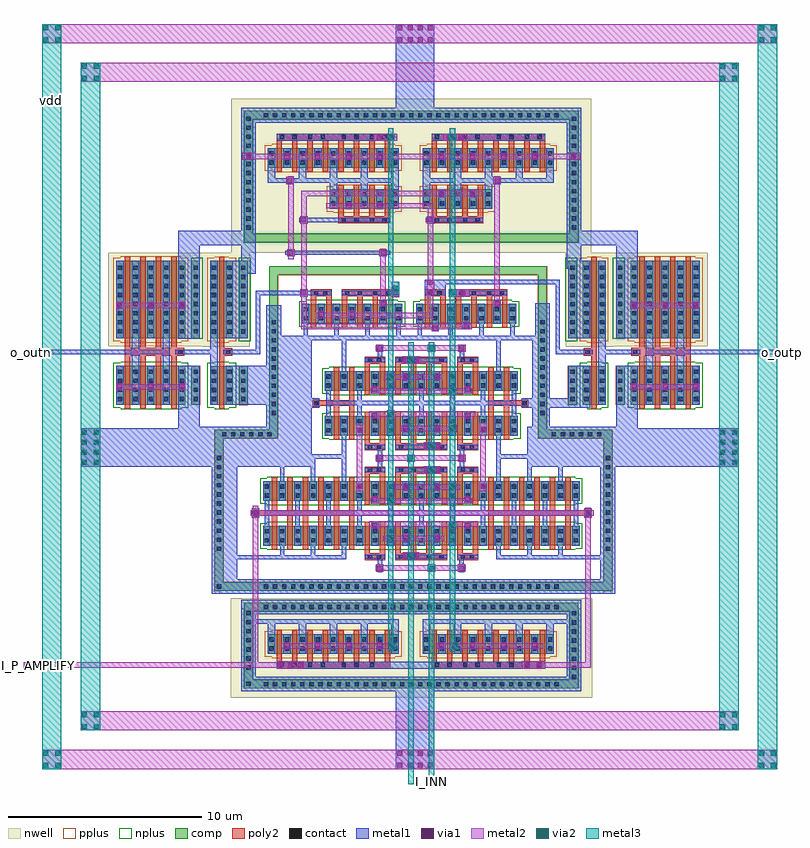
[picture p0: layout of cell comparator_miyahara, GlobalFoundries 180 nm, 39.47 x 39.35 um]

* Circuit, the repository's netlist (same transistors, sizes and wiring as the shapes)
** sch_path: /home/stanleylin/Project-GF180MCU/xschem/comparator_miyahara.sch
.subckt comparator_miyahara i_p_amplify gf180mcu_gnd i_inp i_inn vdd o_outp o_outn
*.PININFO i_p_amplify:B gf180mcu_gnd:B i_inp:B i_inn:B vdd:B o_outp:B o_outn:B
M1 x_sb i_inp net1 gf180mcu_gnd nfet_03v3 L=280n W=2u nf=2 m=8
M2 x_rb i_inn net1 gf180mcu_gnd nfet_03v3 L=280n W=2u nf=2 m=8
M3 net1 i_p_amplify gf180mcu_gnd gf180mcu_gnd nfet_03v3 L=280n W=2u nf=2 m=12
M4 x_sb i_p_amplify vdd vdd pfet_03v3 L=280n W=2u nf=2 m=4
M5 x_rb i_p_amplify vdd vdd pfet_03v3 L=280n W=2u nf=2 m=4
M6 xx_outp x_sb gf180mcu_gnd gf180mcu_gnd nfet_03v3 L=280n W=2u nf=2 m=1
M7 xx_outp xx_outn gf180mcu_gnd gf180mcu_gnd nfet_03v3 L=280n W=2u nf=2 m=1
M8 xx_outn xx_outp gf180mcu_gnd gf180mcu_gnd nfet_03v3 L=280n W=2u nf=2 m=1
M9 xx_outn x_rb gf180mcu_gnd gf180mcu_gnd nfet_03v3 L=280n W=2u nf=2 m=1
M10 xx_outp xx_outn net2 vdd pfet_03v3 L=280n W=2u nf=2 m=2
M11 xx_outn xx_outp net3 vdd pfet_03v3 L=280n W=2u nf=2 m=2
M12 net2 x_sb gf180mcu_gnd gf180mcu_gnd nfet_03v3 L=280n W=2u nf=2 m=1
M14 net3 x_rb gf180mcu_gnd gf180mcu_gnd nfet_03v3 L=280n W=2u nf=2 m=1
M15 net2 x_sb vdd vdd pfet_03v3 L=280n W=2u nf=2 m=4
M16 net3 x_rb vdd vdd pfet_03v3 L=280n W=2u nf=2 m=4

M13 net1 gf180mcu_gnd gf180mcu_gnd gf180mcu_gnd nfet_03v3 L=280n W=2u nf=2 m=4

*x1 vdd net5 o_outn gf180mcu_gnd lib_inv2
M101 o_outn net5 gf180mcu_gnd gf180mcu_gnd nfet_03v3 L=0.28u W=2u nf=1 m=4
M102 o_outn net5 vdd vdd pfet_03v3 L=0.28u W=4u nf=1 m=4

*x2 vdd net4 o_outp gf180mcu_gnd lib_inv2
M103 o_outp net4 gf180mcu_gnd gf180mcu_gnd nfet_03v3 L=0.28u W=2u nf=1 m=4
M104 o_outp net4 vdd vdd pfet_03v3 L=0.28u W=4u nf=1 m=4

*x3 vdd xx_outp net4 gf180mcu_gnd lib_inv1
M105 net4 xx_outp gf180mcu_gnd gf180mcu_gnd nfet_03v3 L=0.28u W=2u nf=1 m=1
M106 net4 xx_outp vdd vdd pfet_03v3 L=0.28u W=4u nf=1 m=1

*x4 vdd xx_outn net5 gf180mcu_gnd lib_inv1
M107 net5 xx_outn gf180mcu_gnd gf180mcu_gnd nfet_03v3 L=0.28u W=2u nf=1 m=1
M108 net5 xx_outn vdd vdd pfet_03v3 L=0.28u W=4u nf=1 m=1

.ends

* expanding   symbol:  lib_inv2.sym # of pins=4
** sym_path: /home/stanleylin/Project-GF180MCU/xschem/lib_inv2.sym
** sch_path: /home/stanleylin/Project-GF180MCU/xschem/lib_inv2.sch
*.subckt lib_inv2 vdd IN OUT gf180mcu_gnd
*.PININFO IN:I OUT:O vdd:I gf180mcu_gnd:I
*M1 OUT IN gf180mcu_gnd gf180mcu_gnd nfet_03v3 L=0.28u W=2u nf=1 m=4
*M2 OUT IN vdd vdd pfet_03v3 L=0.28u W=4u nf=1 m=4
*.ends


* expanding   symbol:  lib_inv1.sym # of pins=4
** sym_path: /home/stanleylin/Project-GF180MCU/xschem/lib_inv1.sym
** sch_path: /home/stanleylin/Project-GF180MCU/xschem/lib_inv1.sch
*.subckt lib_inv1 vdd IN OUT gf180mcu_gnd
*.PININFO IN:I OUT:O vdd:I gf180mcu_gnd:I
*M1 OUT IN gf180mcu_gnd gf180mcu_gnd nfet_03v3 L=0.28u W=2u nf=1 m=1
*M2 OUT IN vdd vdd pfet_03v3 L=0.28u W=4u nf=1 m=1
*.ends

.end

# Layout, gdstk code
import gdstk
lib = gdstk.Library(unit=1e-6, precision=1e-09)
def R(c, l, rs):  # rectangles x0, y0, x1, y1
    for r in rs: c.add(gdstk.rectangle(r[:2], r[2:], *l))
def A(c, l, x, y, w, h, nx, ny, dx, dy):  # array of equal rectangles
    R(c, l, [(x+i*dx, y+j*dy, x+i*dx+w, y+j*dy+h) for i in range(nx) for j in range(ny)])
nwell = (21, 0)
comp = (22, 0)
poly2 = (30, 0)
pplus = (31, 0)
nplus = (32, 0)
contact = (33, 0)
metal1 = (34, 0)
via1 = (35, 0)
metal2 = (36, 0)
via2 = (38, 0)
metal3 = (42, 0)

m2_m1_cdns_677059503131 = lib.new_cell('M2_M1_CDNS_677059503131')
R(m2_m1_cdns_677059503131, metal1, [(-1,-0.5,1,0.5)])
A(m2_m1_cdns_677059503131, via1, -0.91, -0.44, 0.26, 0.26, 4, 2, 0.52, 0.62)
R(m2_m1_cdns_677059503131, metal2, [(-1,-0.5,1,0.5)])

m3_m2_cdns_677059503136 = lib.new_cell('M3_M2_CDNS_677059503136')
R(m3_m2_cdns_677059503136, metal2, [(-0.19,-0.19,0.19,0.19)])
R(m3_m2_cdns_677059503136, via2, [(-0.13,-0.13,0.13,0.13)])
R(m3_m2_cdns_677059503136, metal3, [(-0.19,-0.19,0.19,0.19)])

m2_m1_cdns_677059503139 = lib.new_cell('M2_M1_CDNS_677059503139')
R(m2_m1_cdns_677059503139, metal1, [(-0.425,-0.19,0.425,0.19)])
R(m2_m1_cdns_677059503139, via1, [(-0.39,-0.13,-0.13,0.13), (0.13,-0.13,0.39,0.13)])
R(m2_m1_cdns_677059503139, metal2, [(-0.425,-0.19,0.425,0.19)])

m2_m1_cdns_677059503135 = lib.new_cell('M2_M1_CDNS_677059503135')
R(m2_m1_cdns_677059503135, metal1, [(-0.19,-0.14,0.19,0.14)])
R(m2_m1_cdns_677059503135, via1, [(-0.13,-0.13,0.13,0.13)])
R(m2_m1_cdns_677059503135, metal2, [(-0.19,-0.19,0.19,0.19)])

m3_m2_cdns_677059503130 = lib.new_cell('M3_M2_CDNS_677059503130')
R(m3_m2_cdns_677059503130, metal2, [(-0.5,-0.5,0.5,0.5)])
R(m3_m2_cdns_677059503130, via2, [(-0.44,-0.44,-0.18,-0.18), (0.18,-0.44,0.44,-0.18), (-0.44,0.18,-0.18,0.44), (0.18,0.18,0.44,0.44)])
R(m3_m2_cdns_677059503130, metal3, [(-0.5,-0.5,0.5,0.5)])

m2_m1_cdns_677059503138 = lib.new_cell('M2_M1_CDNS_677059503138')
R(m2_m1_cdns_677059503138, metal1, [(-0.19,-0.19,0.19,0.19)])
R(m2_m1_cdns_677059503138, via1, [(-0.13,-0.13,0.13,0.13)])
R(m2_m1_cdns_677059503138, metal2, [(-0.19,-0.19,0.19,0.19)])

m2_m1_cdns_6770595031313 = lib.new_cell('M2_M1_CDNS_6770595031313')
R(m2_m1_cdns_6770595031313, metal1, [(-0.19,-0.14,0.19,0.24)])
R(m2_m1_cdns_6770595031313, via1, [(-0.13,-0.08,0.13,0.18)])
R(m2_m1_cdns_6770595031313, metal2, [(-0.19,-0.14,0.19,0.24)])

m3_m2_cdns_6770595031314 = lib.new_cell('M3_M2_CDNS_6770595031314')
R(m3_m2_cdns_6770595031314, metal2, [(-0.14,-0.18,0.14,0.18)])
R(m3_m2_cdns_6770595031314, via2, [(-0.13,-0.13,0.13,0.13)])
R(m3_m2_cdns_6770595031314, metal3, [(-0.19,-0.18,0.19,0.18)])

m2_m1_cdns_6770595031315 = lib.new_cell('M2_M1_CDNS_6770595031315')
R(m2_m1_cdns_6770595031315, metal1, [(-0.6,-0.18,0.6,0.18)])
R(m2_m1_cdns_6770595031315, via1, [(-0.44,-0.13,-0.18,0.13), (0.18,-0.13,0.44,0.13)])
R(m2_m1_cdns_6770595031315, metal2, [(-0.6,-0.18,0.6,0.18)])

m2_m1_cdns_6770595031319 = lib.new_cell('M2_M1_CDNS_6770595031319')
R(m2_m1_cdns_6770595031319, metal1, [(-0.19,-0.14,0.19,0.18)])
R(m2_m1_cdns_6770595031319, via1, [(-0.13,-0.08,0.13,0.18)])
R(m2_m1_cdns_6770595031319, metal2, [(-0.19,-0.14,0.19,0.24)])

m2_m1_cdns_6770595031320 = lib.new_cell('M2_M1_CDNS_6770595031320')
R(m2_m1_cdns_6770595031320, metal1, [(-0.14,-0.175,0.14,0.175)])
R(m2_m1_cdns_6770595031320, via1, [(-0.13,-0.13,0.13,0.13)])
R(m2_m1_cdns_6770595031320, metal2, [(-0.19,-0.175,0.19,0.175)])

m2_m1_cdns_6770595031321 = lib.new_cell('M2_M1_CDNS_6770595031321')
R(m2_m1_cdns_6770595031321, metal1, [(-0.365,-0.19,0.365,0.19)])
R(m2_m1_cdns_6770595031321, via1, [(-0.13,-0.13,0.13,0.13)])
R(m2_m1_cdns_6770595031321, metal2, [(-0.365,-0.19,0.365,0.19)])

m2_m1_cdns_6770595031322 = lib.new_cell('M2_M1_CDNS_6770595031322')
R(m2_m1_cdns_6770595031322, metal1, [(-0.14,-0.4,0.14,0.4)])
R(m2_m1_cdns_6770595031322, via1, [(-0.13,-0.39,0.13,-0.13), (-0.13,0.13,0.13,0.39)])
R(m2_m1_cdns_6770595031322, metal2, [(-0.19,-0.4,0.19,0.4)])

m2_m1_cdns_6770595031324 = lib.new_cell('M2_M1_CDNS_6770595031324')
R(m2_m1_cdns_6770595031324, metal1, [(-0.355,-0.14,0.355,0.14)])
R(m2_m1_cdns_6770595031324, via1, [(-0.13,-0.13,0.13,0.13)])
R(m2_m1_cdns_6770595031324, metal2, [(-0.355,-0.19,0.355,0.19)])

m3_m2_cdns_6770595031323 = lib.new_cell('M3_M2_CDNS_6770595031323')
R(m3_m2_cdns_6770595031323, metal2, [(-0.19,-0.335,0.19,0.345)])
R(m3_m2_cdns_6770595031323, via2, [(-0.13,-0.13,0.13,0.13)])
R(m3_m2_cdns_6770595031323, metal3, [(-0.19,-0.335,0.19,0.345)])

m2_m1_cdns_6770595031325 = lib.new_cell('M2_M1_CDNS_6770595031325')
R(m2_m1_cdns_6770595031325, metal1, [(-0.35,-0.14,0.35,0.14)])
R(m2_m1_cdns_6770595031325, via1, [(-0.13,-0.13,0.13,0.13)])
R(m2_m1_cdns_6770595031325, metal2, [(-0.35,-0.19,0.35,0.19)])

m2_m1_cdns_6770595031326 = lib.new_cell('M2_M1_CDNS_6770595031326')
R(m2_m1_cdns_6770595031326, metal1, [(-0.62,-0.18,0.62,0.18)])
R(m2_m1_cdns_6770595031326, via1, [(-0.44,-0.13,-0.18,0.13), (0.18,-0.13,0.44,0.13)])
R(m2_m1_cdns_6770595031326, metal2, [(-0.62,-0.18,0.62,0.18)])

m2_m1_cdns_6770595031311 = lib.new_cell('M2_M1_CDNS_6770595031311')
R(m2_m1_cdns_6770595031311, metal1, [(-0.19,-0.225,0.19,0.155)])
R(m2_m1_cdns_6770595031311, via1, [(-0.13,-0.165,0.13,0.095)])
R(m2_m1_cdns_6770595031311, metal2, [(-0.19,-0.225,0.19,0.155)])

m2_m1_cdns_6770595031312 = lib.new_cell('M2_M1_CDNS_6770595031312')
R(m2_m1_cdns_6770595031312, metal1, [(-0.19,-0.25,0.19,0.25)])
R(m2_m1_cdns_6770595031312, via1, [(-0.13,-0.13,0.13,0.13)])
R(m2_m1_cdns_6770595031312, metal2, [(-0.19,-0.25,0.19,0.25)])

m2_m1_cdns_6770595031316 = lib.new_cell('M2_M1_CDNS_6770595031316')
R(m2_m1_cdns_6770595031316, metal1, [(-0.14,-0.28,0.14,0.29)])
R(m2_m1_cdns_6770595031316, via1, [(-0.13,-0.13,0.13,0.13)])
R(m2_m1_cdns_6770595031316, metal2, [(-0.19,-0.28,0.19,0.29)])

m2_m1_cdns_6770595031318 = lib.new_cell('M2_M1_CDNS_6770595031318')
R(m2_m1_cdns_6770595031318, metal1, [(-0.14,-0.255,0.14,0.255)])
R(m2_m1_cdns_6770595031318, via1, [(-0.13,-0.13,0.13,0.13)])
R(m2_m1_cdns_6770595031318, metal2, [(-0.19,-0.255,0.19,0.255)])

m2_m1_cdns_677059503133 = lib.new_cell('M2_M1_CDNS_677059503133')
R(m2_m1_cdns_677059503133, metal1, [(-0.5,-1,0.5,1)])
A(m2_m1_cdns_677059503133, via1, -0.44, -0.91, 0.26, 0.26, 1, 4, 0, 0.52)
A(m2_m1_cdns_677059503133, via1, 0.18, -0.91, 0.26, 0.26, 1, 4, 0, 0.52)
R(m2_m1_cdns_677059503133, metal2, [(-0.5,-1,0.5,1)])

m2_m1_cdns_677059503134 = lib.new_cell('M2_M1_CDNS_677059503134')
R(m2_m1_cdns_677059503134, metal1, [(-0.7,-0.14,0.7,0.14)])
A(m2_m1_cdns_677059503134, via1, -0.65, -0.13, 0.26, 0.26, 3, 1, 0.52, 0)
R(m2_m1_cdns_677059503134, metal2, [(-0.7,-0.19,0.7,0.19)])

m3_m2_cdns_677059503132 = lib.new_cell('M3_M2_CDNS_677059503132')
R(m3_m2_cdns_677059503132, metal2, [(-0.5,-1,0.5,1)])
A(m3_m2_cdns_677059503132, via2, -0.44, -0.91, 0.26, 0.26, 1, 4, 0, 0.52)
A(m3_m2_cdns_677059503132, via2, 0.18, -0.91, 0.26, 0.26, 1, 4, 0, 0.52)
R(m3_m2_cdns_677059503132, metal3, [(-0.5,-1,0.5,1)])

m2_m1_cdns_6770595031310 = lib.new_cell('M2_M1_CDNS_6770595031310')
R(m2_m1_cdns_6770595031310, metal1, [(-0.19,-0.24,0.19,0.14)])
R(m2_m1_cdns_6770595031310, via1, [(-0.13,-0.18,0.13,0.08)])
R(m2_m1_cdns_6770595031310, metal2, [(-0.19,-0.24,0.19,0.14)])

m2_m1_cdns_677059503137 = lib.new_cell('M2_M1_CDNS_677059503137')
R(m2_m1_cdns_677059503137, metal1, [(-0.605,-0.14,0.605,0.14)])
R(m2_m1_cdns_677059503137, via1, [(-0.44,-0.13,-0.18,0.13), (0.18,-0.13,0.44,0.13)])
R(m2_m1_cdns_677059503137, metal2, [(-0.605,-0.19,0.605,0.19)])

m2_m1_cdns_6770595031317 = lib.new_cell('M2_M1_CDNS_6770595031317')
R(m2_m1_cdns_6770595031317, metal1, [(-0.14,-0.33,0.14,0.33)])
R(m2_m1_cdns_6770595031317, via1, [(-0.13,-0.13,0.13,0.13)])
R(m2_m1_cdns_6770595031317, metal2, [(-0.19,-0.33,0.19,0.33)])

comparator_miyahara = lib.new_cell('comparator_miyahara')
R(comparator_miyahara, nwell, [(-13.295,-8.39,5.43,-3.22), (-14.765,9.8,-12.295,9.805), (4.07,9.8,6.54,9.805), (-19.635,9.805,-12.295,14.66), (4.07,9.805,11.41,14.66), (-19.635,14.66,-14.765,14.665), (-13.26,14.66,5.38,22.625), (6.54,14.66,11.41,14.665)])
R(comparator_miyahara, comp, [(-12.59,-7.885,4.7,-7.445), (-12.59,-7.445,-12.15,-3.905), (4.26,-7.445,4.7,-3.905), (-11.355,-6.105,-4.595,-5.105), (-3.33,-6.105,3.43,-5.105), (-12.59,-3.905,4.7,-3.465), (-14.115,-2.84,6.465,-2.4), (-14.115,-2.4,-13.675,5.04), (6.025,-2.4,6.465,5.04), (-11.6,-0.5,4.76,0.5), (-11.6,1.82,4.76,2.82), (-14.115,5.04,-10.845,5.48), (2.63,5.04,6.465,5.48), (-8.4,5.195,1.56,6.195), (-11.285,5.48,-10.845,13.505), (2.63,5.48,3.07,13.505), (-14.335,6.79,-13.175,8.79), (-12.855,6.79,-12.415,8.79), (4.19,6.79,4.63,8.79), (4.95,6.79,6.11,8.79), (-19.205,6.795,-15.645,8.795), (-15.325,6.795,-14.885,8.795), (6.66,6.795,7.1,8.795), (7.42,6.795,10.98,8.795), (-8.4,7.515,1.56,8.515), (-14.335,10.23,-13.175,14.23), (-12.855,10.23,-12.415,14.23), (4.19,10.23,4.63,14.23), (4.95,10.23,6.11,14.23), (-19.205,10.235,-15.645,14.235), (-15.325,10.235,-14.885,14.235), (6.66,10.235,7.1,14.235), (7.42,10.235,10.98,14.235), (-9.585,10.995,-4.425,11.995), (-3.68,10.995,1.48,11.995), (-11.285,13.505,3.07,13.945), (-12.59,15.205,4.7,15.645), (-12.59,15.645,-12.15,21.56), (4.26,15.645,4.7,21.56), (-8.155,16.945,-4.595,17.945), (-3.33,16.945,0.23,17.945), (-11.355,19.06,-4.595,20.06), (-3.33,19.06,3.43,20.06), (-12.59,21.56,4.7,22)])
A(comparator_miyahara, poly2, -10.915, -6.51, 0.28, 1.625, 8, 2, 0.8, 25.35)
A(comparator_miyahara, poly2, -2.89, -6.51, 0.28, 1.625, 8, 2, 0.8, 25.35)
A(comparator_miyahara, poly2, -6.36, -0.905, 0.28, 1.625, 8, 2, 0.8, 2.505)
A(comparator_miyahara, poly2, -11.16, -0.72, 0.28, 1.755, 6, 1, 0.8, 0)
A(comparator_miyahara, poly2, 0.04, -0.72, 0.28, 1.755, 6, 1, 0.8, 0)
A(comparator_miyahara, poly2, -11.16, 1.315, 0.28, 1.725, 6, 1, 0.8, 0)
A(comparator_miyahara, poly2, 0.04, 1.315, 0.28, 1.725, 6, 1, 0.8, 0)
A(comparator_miyahara, poly2, -6.36, 4.79, 0.28, 1.625, 8, 2, 0.8, 2.505)
A(comparator_miyahara, poly2, -18.765, 6.575, 0.28, 2.75, 4, 1, 0.8, 0)
A(comparator_miyahara, poly2, 7.86, 6.575, 0.28, 2.75, 4, 1, 0.8, 0)
A(comparator_miyahara, poly2, -18.765, 9.725, 0.28, 4.73, 4, 1, 0.8, 0)
A(comparator_miyahara, poly2, 7.86, 9.725, 0.28, 4.73, 4, 1, 0.8, 0)
A(comparator_miyahara, poly2, -9.145, 10.775, 0.28, 1.625, 6, 1, 0.8, 0)
A(comparator_miyahara, poly2, -3.24, 10.775, 0.28, 1.625, 6, 1, 0.8, 0)
A(comparator_miyahara, poly2, -7.715, 16.54, 0.28, 1.625, 4, 1, 0.8, 0)
A(comparator_miyahara, poly2, -2.89, 16.54, 0.28, 1.625, 4, 1, 0.8, 0)
R(comparator_miyahara, poly2, [(-10.915,-6.87,-5.035,-6.51), (-2.89,-6.87,2.99,-6.51), (-6.36,-1.265,-5.28,-0.905), (-4.76,-1.265,-2.08,-0.905), (-1.56,-1.265,-0.48,-0.905), (-12.18,0.995,-11.82,1.035), (5.035,0.995,5.395,1.035), (-12.18,1.035,-6.88,1.315), (0.04,1.035,5.395,1.315), (-12.18,1.315,-11.82,1.355), (5.035,1.315,5.395,1.355), (-6.36,3.225,-5.28,3.585), (-4.76,3.225,-2.08,3.585), (-1.56,3.225,-0.48,3.585), (-6.36,4.43,-5.28,4.79), (-4.76,4.43,-2.08,4.79), (-1.56,4.43,-0.48,4.79), (-7.96,4.975,-7.68,6.73), (-7.16,4.975,-6.88,6.73), (0.04,4.975,0.32,6.73), (0.84,4.975,1.12,6.73), (-13.895,6.57,-13.615,9.32), (5.39,6.57,5.67,9.32), (-9.04,6.69,-8.68,6.73), (1.76,6.69,2.12,6.73), (-9.04,6.73,-6.88,7.01), (0.04,6.73,2.12,7.01), (-9.04,7.01,-8.68,7.05), (-7.96,7.01,-7.68,8.735), (-7.16,7.01,-6.88,8.735), (0.04,7.01,0.32,8.735), (0.84,7.01,1.12,8.735), (1.76,7.01,2.12,7.05), (-6.36,8.92,-5.28,9.28), (-4.76,8.92,-2.08,9.28), (-1.56,8.92,-0.48,9.28), (-13.895,9.32,-13.215,9.72), (4.99,9.32,5.67,9.72), (-18.765,9.325,-15.685,9.725), (7.46,9.325,10.54,9.725), (-13.895,9.72,-13.615,14.45), (5.39,9.72,5.67,14.45), (-9.145,12.4,-8.065,12.76), (-7.545,12.4,-4.865,12.76), (-3.24,12.4,-2.16,12.76), (-1.64,12.4,1.04,12.76), (-7.715,16.18,-5.035,16.54), (-2.89,16.18,-0.21,16.54), (-10.915,20.465,-5.035,20.825), (-2.89,20.465,2.99,20.825)])
R(comparator_miyahara, pplus, [(-11.145,-6.335,-4.805,-6.265), (-3.12,-6.335,3.22,-6.265), (-11.515,-6.265,-4.435,-4.945), (-3.49,-6.265,3.59,-4.945), (-11.145,-4.945,-4.805,-4.875), (-3.12,-4.945,3.22,-4.875), (-13.885,-3,6.02,-2.86), (-14.135,-2.86,6.485,-2.38), (-14.135,-2.38,-13.655,5.02), (6.005,-2.38,6.485,5.02), (-14.135,5.02,-10.825,5.5), (2.61,5.02,6.485,5.5), (-11.305,5.5,-10.825,13.485), (2.61,5.5,3.09,13.485), (-12.875,6.77,-12.395,8.81), (4.17,6.77,4.65,8.81), (-15.345,6.775,-14.865,8.815), (6.64,6.775,7.12,8.815), (-14.125,10,-13.385,10.07), (5.16,10,5.9,10.07), (-18.995,10.005,-15.855,10.075), (7.63,10.005,10.77,10.075), (-14.495,10.07,-13.015,14.39), (4.79,10.07,6.27,14.39), (-19.365,10.075,-15.485,14.395), (7.26,10.075,11.14,14.395), (-11.305,13.485,3.09,13.965), (-14.125,14.39,-13.385,14.46), (5.16,14.39,5.9,14.46), (-18.995,14.395,-15.855,14.465), (7.63,14.395,10.77,14.465), (-7.945,16.715,-4.805,16.785), (-3.12,16.715,0.02,16.785), (-8.315,16.785,-4.435,18.105), (-3.49,16.785,0.39,18.105), (-7.945,18.105,-4.805,18.175), (-3.12,18.105,0.02,18.175), (-11.145,18.83,-4.805,18.9), (-3.12,18.83,3.22,18.9), (-11.515,18.9,-4.435,20.22), (-3.49,18.9,3.59,20.22), (-11.145,20.22,-4.805,20.29), (-3.12,20.22,3.22,20.29)])
R(comparator_miyahara, nplus, [(-12.61,-7.905,4.72,-7.425), (-12.61,-7.425,-12.13,-3.925), (4.24,-7.425,4.72,-3.925), (-12.61,-3.925,4.72,-3.81), (-12.75,-3.81,4.86,-3.305), (-11.39,-0.73,4.55,-0.66), (-11.76,-0.66,4.92,0.66), (-11.39,0.66,4.55,0.73), (-11.39,1.59,4.55,1.66), (-11.76,1.66,4.92,2.98), (-11.39,2.98,4.55,3.05), (-8.19,4.965,1.35,5.035), (-8.56,5.035,1.72,6.355), (-8.19,6.355,1.35,6.425), (-14.125,6.56,-13.385,6.63), (5.16,6.56,5.9,6.63), (-18.995,6.565,-15.855,6.635), (7.63,6.565,10.77,6.635), (-14.495,6.63,-13.015,8.95), (4.79,6.63,6.27,8.95), (-19.365,6.635,-15.485,8.955), (7.26,6.635,11.14,8.955), (-8.19,7.285,1.35,7.355), (-8.56,7.355,1.72,8.675), (-8.19,8.675,1.35,8.745), (-14.125,8.95,-13.385,9.02), (5.16,8.95,5.9,9.02), (-18.995,8.955,-15.855,9.025), (7.63,8.955,10.77,9.025), (-12.885,10.07,-12.255,14.39), (4.03,10.07,4.66,14.39), (-15.345,10.215,-14.725,14.07), (6.5,10.215,7.12,14.07), (-9.375,10.765,-4.635,10.835), (-3.47,10.765,1.27,10.835), (-9.745,10.835,-4.265,12.155), (-3.84,10.835,1.64,12.155), (-9.375,12.155,-4.635,12.225), (-3.47,12.155,1.27,12.225), (-15.345,14.07,-14.725,14.395), (6.5,14.07,7.12,14.395), (-12.61,15.185,4.72,15.665), (-12.61,15.665,-12.13,21.54), (4.24,15.665,4.72,21.54), (-12.61,21.54,4.72,22.02)])
A(comparator_miyahara, contact, -11.57, -7.79, 0.22, 0.22, 33, 2, 0.47, 3.99)
A(comparator_miyahara, contact, 4.37, -7.415, 0.22, 0.22, 1, 8, 0, 0.47)
A(comparator_miyahara, contact, -12.48, -6.93, 0.22, 0.22, 1, 7, 0, 0.47)
A(comparator_miyahara, contact, -11.285, -5.95, 0.22, 0.22, 9, 2, 0.8, 0.47)
A(comparator_miyahara, contact, -3.26, -5.95, 0.22, 0.22, 9, 2, 0.8, 0.47)
A(comparator_miyahara, contact, -11.57, -2.73, 0.22, 0.22, 33, 2, 0.47, 24.4)
A(comparator_miyahara, contact, -14.01, -0.785, 0.22, 0.22, 1, 11, 0, 0.47)
A(comparator_miyahara, contact, 6.135, -0.785, 0.22, 0.22, 1, 11, 0, 0.47)
A(comparator_miyahara, contact, -11.53, -0.345, 0.22, 0.22, 21, 2, 0.8, 0.47)
A(comparator_miyahara, contact, -11.53, 1.975, 0.22, 0.22, 21, 2, 0.8, 0.47)
A(comparator_miyahara, contact, -13.74, 5.145, 0.22, 0.22, 6, 1, 0.47, 0)
A(comparator_miyahara, contact, 3.33, 5.145, 0.22, 0.22, 6, 1, 0.47, 0)
A(comparator_miyahara, contact, -8.33, 5.35, 0.22, 0.22, 13, 2, 0.8, 0.47)
A(comparator_miyahara, contact, -11.165, 6.25, 0.22, 0.22, 1, 11, 0, 0.47)
A(comparator_miyahara, contact, 2.74, 6.25, 0.22, 0.22, 1, 11, 0, 0.47)
A(comparator_miyahara, contact, -14.265, 6.975, 0.22, 0.22, 1, 4, 0, 0.47)
A(comparator_miyahara, contact, -13.465, 6.975, 0.22, 0.22, 1, 4, 0, 0.47)
A(comparator_miyahara, contact, -12.745, 6.975, 0.22, 0.22, 1, 4, 0, 0.47)
A(comparator_miyahara, contact, 4.3, 6.975, 0.22, 0.22, 1, 4, 0, 0.47)
A(comparator_miyahara, contact, 5.02, 6.975, 0.22, 0.22, 1, 4, 0, 0.47)
A(comparator_miyahara, contact, 5.82, 6.975, 0.22, 0.22, 1, 4, 0, 0.47)
A(comparator_miyahara, contact, -19.135, 6.98, 0.22, 0.22, 5, 4, 0.8, 0.47)
A(comparator_miyahara, contact, -15.215, 6.98, 0.22, 0.22, 1, 4, 0, 0.47)
A(comparator_miyahara, contact, 6.77, 6.98, 0.22, 0.22, 1, 4, 0, 0.47)
A(comparator_miyahara, contact, 7.49, 6.98, 0.22, 0.22, 5, 4, 0.8, 0.47)
A(comparator_miyahara, contact, -8.33, 7.67, 0.22, 0.22, 13, 2, 0.8, 0.47)
A(comparator_miyahara, contact, -14.265, 10.475, 0.22, 0.22, 1, 8, 0, 0.47)
A(comparator_miyahara, contact, -13.465, 10.475, 0.22, 0.22, 1, 8, 0, 0.47)
A(comparator_miyahara, contact, -12.745, 10.475, 0.22, 0.22, 1, 8, 0, 0.47)
A(comparator_miyahara, contact, 4.3, 10.475, 0.22, 0.22, 1, 8, 0, 0.47)
A(comparator_miyahara, contact, 5.02, 10.475, 0.22, 0.22, 1, 8, 0, 0.47)
A(comparator_miyahara, contact, 5.82, 10.475, 0.22, 0.22, 1, 8, 0, 0.47)
A(comparator_miyahara, contact, -19.135, 10.48, 0.22, 0.22, 5, 8, 0.8, 0.47)
A(comparator_miyahara, contact, -15.215, 10.48, 0.22, 0.22, 1, 8, 0, 0.47)
A(comparator_miyahara, contact, 6.77, 10.48, 0.22, 0.22, 1, 8, 0, 0.47)
A(comparator_miyahara, contact, 7.49, 10.48, 0.22, 0.22, 5, 8, 0.8, 0.47)
A(comparator_miyahara, contact, -9.515, 11.15, 0.22, 0.22, 7, 2, 0.8, 0.47)
A(comparator_miyahara, contact, -3.61, 11.15, 0.22, 0.22, 7, 2, 0.8, 0.47)
A(comparator_miyahara, contact, -12.48, 15.85, 0.22, 0.22, 1, 13, 0, 0.47)
A(comparator_miyahara, contact, 4.375, 15.85, 0.22, 0.22, 1, 13, 0, 0.47)
A(comparator_miyahara, contact, -8.085, 17.1, 0.22, 0.22, 5, 2, 0.8, 0.47)
A(comparator_miyahara, contact, -3.26, 17.1, 0.22, 0.22, 5, 2, 0.8, 0.47)
A(comparator_miyahara, contact, -11.285, 19.215, 0.22, 0.22, 9, 2, 0.8, 0.47)
A(comparator_miyahara, contact, -3.26, 19.215, 0.22, 0.22, 9, 2, 0.8, 0.47)
R(comparator_miyahara, contact, [(-12.48,-7.775,-12.26,-7.555), (-10.74,-6.8,-10.52,-6.58), (-10.09,-6.8,-9.87,-6.58), (-9.285,-6.8,-9.065,-6.58), (-8.64,-6.8,-8.42,-6.58), (-7.54,-6.8,-7.32,-6.58), (-6.89,-6.8,-6.67,-6.58), (-6.085,-6.8,-5.865,-6.58), (-2.715,-6.8,-2.495,-6.58), (-2.065,-6.8,-1.845,-6.58), (-1.26,-6.8,-1.04,-6.58), (-0.615,-6.8,-0.395,-6.58), (0.485,-6.8,0.705,-6.58), (1.135,-6.8,1.355,-6.58), (1.94,-6.8,2.16,-6.58), (2.585,-6.8,2.805,-6.58), (-14.005,-2.73,-13.785,-2.51), (-6.185,-1.195,-5.965,-0.975), (-5.715,-1.195,-5.495,-0.975), (-4.585,-1.195,-4.365,-0.975), (-3.935,-1.195,-3.715,-0.975), (-3.13,-1.195,-2.91,-0.975), (-2.485,-1.195,-2.265,-0.975), (-1.385,-1.195,-1.165,-0.975), (-0.915,-1.195,-0.695,-0.975), (-12.11,1.065,-11.89,1.285), (5.105,1.065,5.325,1.285), (-6.185,3.295,-5.965,3.515), (-5.715,3.295,-5.495,3.515), (-4.585,3.295,-4.365,3.515), (-3.935,3.295,-3.715,3.515), (-3.13,3.295,-2.91,3.515), (-2.485,3.295,-2.265,3.515), (-1.385,3.295,-1.165,3.515), (-0.915,3.295,-0.695,3.515), (-6.185,4.5,-5.965,4.72), (-5.715,4.5,-5.495,4.72), (-4.585,4.5,-4.365,4.72), (-3.13,4.5,-2.91,4.72), (-2.485,4.5,-2.265,4.72), (-1.385,4.5,-1.165,4.72), (-0.915,4.5,-0.695,4.72), (-8.97,6.76,-8.75,6.98), (1.83,6.76,2.05,6.98), (-6.185,8.99,-5.965,9.21), (-5.715,8.99,-5.495,9.21), (-4.585,8.99,-4.365,9.21), (-3.935,8.99,-3.715,9.21), (-2.485,8.99,-2.265,9.21), (-1.385,8.99,-1.165,9.21), (-0.915,8.99,-0.695,9.21), (-13.525,9.41,-13.305,9.63), (5.08,9.41,5.3,9.63), (-15.995,9.415,-15.775,9.635), (7.55,9.415,7.77,9.635), (-8.97,12.47,-8.75,12.69), (-8.5,12.47,-8.28,12.69), (-7.37,12.47,-7.15,12.69), (-6.72,12.47,-6.5,12.69), (-5.915,12.47,-5.695,12.69), (-5.27,12.47,-5.05,12.69), (-3.065,12.47,-2.845,12.69), (-2.595,12.47,-2.375,12.69), (-1.465,12.47,-1.245,12.69), (-0.815,12.47,-0.595,12.69), (-0.01,12.47,0.21,12.69), (0.635,12.47,0.855,12.69), (-7.54,16.25,-7.32,16.47), (-6.89,16.25,-6.67,16.47), (-6.085,16.25,-5.865,16.47), (-5.44,16.25,-5.22,16.47), (-2.715,16.25,-2.495,16.47), (-2.065,16.25,-1.845,16.47), (-1.26,16.25,-1.04,16.47), (-0.615,16.25,-0.395,16.47), (-10.74,20.535,-10.52,20.755), (-10.09,20.535,-9.87,20.755), (-9.285,20.535,-9.065,20.755), (-8.64,20.535,-8.42,20.755), (-7.54,20.535,-7.32,20.755), (-6.89,20.535,-6.67,20.755), (-6.085,20.535,-5.865,20.755), (-5.44,20.535,-5.22,20.755), (-2.715,20.535,-2.495,20.755), (-2.065,20.535,-1.845,20.755), (-1.26,20.535,-1.04,20.755), (-0.615,20.535,-0.395,20.755), (0.485,20.535,0.705,20.755), (1.135,20.535,1.355,20.755), (1.94,20.535,2.16,20.755), (2.585,20.535,2.805,20.755)])
A(comparator_miyahara, metal1, -11.365, -6.115, 0.38, 1.56, 5, 2, 1.6, 24.625)
A(comparator_miyahara, metal1, -10.565, -6.115, 0.38, 1.02, 4, 2, 1.6, 25.165)
A(comparator_miyahara, metal1, -3.34, -6.115, 0.38, 1.56, 5, 2, 1.6, 24.625)
A(comparator_miyahara, metal1, -2.54, -6.115, 0.38, 1.02, 4, 2, 1.6, 25.165)
A(comparator_miyahara, metal1, -10.735, -0.995, 0.23, 0.485, 3, 1, 1.6, 0)
A(comparator_miyahara, metal1, 0.465, -0.995, 0.23, 0.485, 3, 1, 1.6, 0)
A(comparator_miyahara, metal1, -11.61, -0.51, 0.38, 1.02, 21, 2, 0.8, 2.32)
A(comparator_miyahara, metal1, -11.535, 0.51, 0.23, 0.565, 11, 1, 1.6, 0)
A(comparator_miyahara, metal1, -11.535, 1.305, 0.23, 0.505, 11, 1, 1.6, 0)
A(comparator_miyahara, metal1, -8.41, 5.185, 0.38, 1.02, 13, 2, 0.8, 2.32)
A(comparator_miyahara, metal1, -8.335, 6.205, 0.23, 0.565, 7, 1, 1.6, 0)
A(comparator_miyahara, metal1, -8.335, 7, 0.23, 0.505, 7, 1, 1.6, 0)
A(comparator_miyahara, metal1, -9.595, 10.985, 0.38, 1.02, 5, 1, 0.8, 0)
A(comparator_miyahara, metal1, -3.69, 10.985, 0.38, 1.02, 4, 1, 1.6, 0)
A(comparator_miyahara, metal1, -8.165, 16.935, 0.38, 1.345, 3, 1, 1.6, 0)
A(comparator_miyahara, metal1, -3.34, 16.935, 0.38, 1.345, 3, 1, 1.6, 0)
R(comparator_miyahara, metal1, [(-4.745,-12.075,-2.745,-8.045), (-12.75,-8.045,4.86,-7.285), (-12.75,-7.285,-11.99,-4.555), (4.1,-7.285,4.86,-4.555), (-10.915,-6.87,2.99,-6.51), (-12.75,-4.555,-4.585,-4.325), (-3.34,-4.555,4.86,-4.325), (-12.75,-4.325,-11.99,-4.065), (4.1,-4.325,4.86,-4.065), (-12.75,-4.065,4.86,-3.305), (-14.275,-3,6.625,-2.24), (-14.275,-2.24,-12.94,-1.225), (5.835,-2.24,6.625,-1.225), (-5.685,-1.89,-5.455,-1.2), (-1.45,-1.875,-1.22,-1.2), (-14.275,-1.225,-7.305,-0.995), (0.465,-1.225,6.625,-0.995), (-6.36,-1.2,-5.28,-0.97), (-4.76,-1.2,-2.08,-0.97), (-1.56,-1.2,-0.48,-0.97), (-14.275,-0.995,-12.94,3.585), (5.835,-0.995,6.625,3.58), (-5.935,0.51,-5.705,0.715), (-1.135,0.51,-0.905,0.745), (-12.15,0.925,-11.85,1.425), (5.065,0.925,5.365,1.425), (-11.535,1.075,4.695,1.305), (-5.935,1.67,-5.705,1.81), (-1.135,1.67,-0.905,1.81), (-10.735,2.83,-10.505,3.585), (-9.135,2.83,-8.905,3.585), (-7.535,2.83,-7.305,4), (0.465,2.83,0.695,4), (2.065,2.83,2.295,3.58), (3.665,2.83,3.895,3.58), (-6.36,3.29,-5.28,3.52), (-4.76,3.29,-2.08,3.52), (-1.56,3.29,-0.48,3.52), (-5.685,3.52,-5.455,4.495), (-1.43,3.52,-1.2,4.495), (-21.055,3.58,-15.285,3.585), (2.065,3.58,13.005,4), (-21.055,3.585,-8.905,4), (-21.055,4,-7.305,4.23), (0.465,4,13.005,4.23), (-21.055,4.23,-9.095,5.58), (-7.535,4.23,-7.305,5.185), (0.465,4.23,0.695,5.185), (2.065,4.23,13.005,5.58), (-6.36,4.495,-5.28,4.725), (-4.76,4.495,-2.08,4.725), (-1.56,4.495,-0.48,4.725), (-16.015,5.58,-9.095,5.64), (2.065,5.58,7.79,5.64), (-16.015,5.64,-14.885,8.805), (-11.445,5.64,-9.095,6.62), (2.315,5.64,3.23,6.62), (6.66,5.64,7.79,8.805), (-5.935,6.205,-5.705,6.41), (-1.135,6.205,-0.905,6.44), (-11.445,6.62,-8.71,6.78), (1.79,6.62,5.32,7.12), (-8.335,6.77,1.495,7), (-14.345,6.78,-13.965,9.41), (-13.545,6.78,-8.71,7.12), (5.74,6.78,6.12,9.41), (-19.215,6.785,-18.835,8.805), (-18.415,6.785,-18.035,9.41), (-17.615,6.785,-17.235,8.805), (-16.815,6.785,-16.435,9.41), (8.21,6.785,8.59,9.41), (9.01,6.785,9.39,8.805), (9.81,6.785,10.19,9.41), (10.61,6.785,10.99,8.805), (-13.545,7.12,-9.095,8.8), (2.315,7.12,3.23,10.23), (4.19,7.12,5.32,8.8), (-5.935,7.365,-5.705,7.505), (-1.135,7.365,-0.905,7.505), (-7.535,8.525,-7.305,10.23), (0.465,8.525,0.695,10.23), (-11.445,8.8,-9.095,10.23), (-6.36,8.985,-5.28,9.215), (-4.76,8.985,-2.08,9.215), (-1.56,8.985,-0.48,9.215), (-5.685,9.215,-5.455,9.905), (-1.43,9.215,-1.2,9.905), (-13.535,9.4,-13.295,9.405), (5.07,9.4,5.31,9.405), (-16.005,9.405,-15.765,9.41), (-13.68,9.405,-11.755,9.635), (3.53,9.405,5.455,9.635), (7.54,9.405,7.78,9.41), (-24,9.41,-16.435,9.64), (-16.15,9.41,-13.965,9.64), (5.74,9.41,7.925,9.64), (8.21,9.41,15.47,9.64), (-13.535,9.635,-13.295,9.64), (-11.985,9.635,-11.755,12.465), (3.53,9.635,3.76,13.035), (5.07,9.635,5.31,9.64), (-18.415,9.64,-18.035,14.245), (-16.815,9.64,-16.435,14.245), (-16.005,9.64,-15.765,9.645), (-14.345,9.64,-13.965,14.24), (5.74,9.64,6.12,14.24), (7.54,9.64,7.78,9.645), (8.21,9.64,8.59,14.245), (9.81,9.64,10.19,14.245), (-11.445,10.135,3.23,10.365), (-16.015,10.21,-14.885,15.045), (-13.545,10.22,-12.415,13.565), (-7.92,10.22,-7.69,10.985), (4.19,10.22,5.32,13.835), (-19.215,10.225,-18.835,14.245), (-17.615,10.225,-17.235,14.245), (-0.415,10.225,-0.185,10.985), (6.66,10.225,7.79,15.045), (9.01,10.225,9.39,14.245), (10.61,10.225,10.99,14.245), (-2.015,10.235,-1.785,10.985), (2.47,10.235,3.23,12.05), (-11.445,10.245,-10.685,11.94), (-3.615,10.245,-3.385,10.985), (1.185,10.25,1.415,10.985), (-9.52,10.255,-9.29,10.985), (-4.72,10.255,-4.49,10.985), (-6.32,10.275,-6.09,10.985), (-2.89,10.695,-2.51,12.005), (-1.29,10.695,-0.91,12.005), (-5.595,10.985,-5.215,12.2), (-4.795,10.985,-4.415,12.005), (0.31,10.985,0.69,12.2), (-11.985,12.465,-8.065,12.695), (-7.545,12.465,-4.56,12.695), (-3.24,12.465,-2.16,13.035), (-1.64,12.465,1.04,12.695), (-3.24,13.035,3.76,13.265), (-13.545,13.565,-11.99,14.24), (4.1,13.835,5.32,14.24), (-12.75,14.24,-11.99,15.045), (4.1,14.24,4.86,15.045), (-10.475,14.54,-5.035,14.77), (-16.015,15.045,-11.99,15.805), (4.1,15.045,7.79,15.805), (-12.75,15.805,-11.99,21.4), (4.1,15.805,4.86,21.4), (-9.74,16.245,-5.035,16.475), (-3.195,16.245,-0.21,16.475), (-7.365,16.935,-6.985,17.955), (-5.765,16.935,-5.385,17.955), (-2.54,16.935,-2.16,17.955), (-0.94,16.935,-0.56,17.955), (0.24,18.205,0.695,18.28), (-11.365,18.28,-4.585,18.51), (-3.34,18.28,3.44,18.51), (0.24,18.51,0.695,18.585), (-10.915,20.465,-4.67,20.825), (-2.89,20.465,2.99,20.825), (-12.75,21.4,4.86,22.16), (-4.745,22.16,-2.745,26.5)])
R(comparator_miyahara, metal2, [(-23.055,-12.075,15.005,-11.075), (-21.055,-10.075,13.005,-9.075), (-24,-6.835,-9.515,-6.555), (1.78,-6.835,5.355,-6.555), (-12.14,-6.555,-11.86,1.035), (5.075,-6.555,5.355,1.035), (-10.705,-5.835,-4.725,-5.555), (-2.63,-5.835,2.905,-5.555), (-5.77,-1.815,-1.125,-1.535), (-4.37,-1.225,-3.515,-0.945), (-5.385,-0.27,-2.24,0.01), (-6.11,0.465,-0.5,0.745), (-12.25,1.035,5.51,1.315), (-12.14,1.315,-11.86,1.55), (5.075,1.315,5.355,1.465), (-6.03,1.67,-0.785,1.95), (-6.76,2.32,-6.48,5.76), (-0.36,2.32,-0.08,5.845), (-4.795,2.38,-1.41,2.66), (-3.295,3.28,-2.44,3.56), (-21.055,3.58,-20.055,5.58), (12.005,3.58,13.005,5.58), (-5.78,3.88,-1.135,4.16), (-3.295,4.47,-2.44,4.75), (-4.485,5.425,-1.58,5.705), (-6.11,6.16,-0.62,6.44), (-6.03,7.365,-0.785,7.645), (-19.215,7.575,-15.635,7.855), (7.41,7.575,10.99,7.855), (-5.36,8.075,-2.33,8.355), (-4.37,8.975,-3.515,9.255), (-5.78,9.575,-1.135,9.855), (-9.635,10.695,-0.8,10.975), (-9.635,10.975,-9.355,17.59), (-8.895,11.275,-2.81,11.555), (-3.09,11.555,-2.81,16.95), (-19.215,11.795,-15.635,12.075), (7.41,11.795,10.99,12.075), (-5.54,11.85,-5.26,14.875), (0.365,11.85,0.645,18.62), (-4.955,12.355,-4.575,13.155), (-1.985,12.435,-0.91,12.715), (-10.315,14.315,-10.035,18.605), (-8.345,16.95,-2.81,17.23), (-9.635,17.59,-0.255,17.87), (-12.695,19.51,4.81,19.79), (-5.91,20.465,-4.67,20.825), (-2.275,20.465,-1.07,20.825), (-21.055,23.5,13.005,24.5), (-23.055,25.5,15.005,26.5)])
R(comparator_miyahara, metal3, [(-4.1,-12.85,-3.82,10.025), (-3.025,-12.85,-2.745,10.035), (-23.055,-12.075,-22.055,26.5), (14.005,-12.075,15.005,26.5), (-21.055,-10.075,-20.055,24.5), (12.005,-10.075,13.005,24.5), (-1.95,-5.98,-1.67,21.095), (-5.145,-5.975,-4.865,12.47), (-5.145,12.47,-4.575,13.155), (-5.145,13.155,-4.865,21.105)])
comparator_miyahara.add(gdstk.Reference(m2_m1_cdns_677059503131, (-3.745,26)))
comparator_miyahara.add(gdstk.Reference(m2_m1_cdns_677059503131, (-3.745,-11.575)))
comparator_miyahara.add(gdstk.Reference(m3_m2_cdns_677059503136, (-3.96,9.1)))
comparator_miyahara.add(gdstk.Reference(m3_m2_cdns_677059503136, (-3.96,4.02)))
comparator_miyahara.add(gdstk.Reference(m3_m2_cdns_677059503136, (-3.96,-1.065)))
comparator_miyahara.add(gdstk.Reference(m2_m1_cdns_677059503139, (-3.945,9.1)))
comparator_miyahara.add(gdstk.Reference(m2_m1_cdns_677059503139, (-3.945,-1.035)))
comparator_miyahara.add(gdstk.Reference(m2_m1_cdns_677059503135, (10.8,11.935)))
comparator_miyahara.add(gdstk.Reference(m2_m1_cdns_677059503135, (7.6,11.935)))
comparator_miyahara.add(gdstk.Reference(m2_m1_cdns_677059503135, (9.2,11.935)))
comparator_miyahara.add(gdstk.Reference(m2_m1_cdns_677059503135, (2.45,19.65)))
comparator_miyahara.add(gdstk.Reference(m2_m1_cdns_677059503135, (0.85,19.65)))
comparator_miyahara.add(gdstk.Reference(m2_m1_cdns_677059503135, (-0.75,19.65)))
comparator_miyahara.add(gdstk.Reference(m2_m1_cdns_677059503135, (-2.35,19.65)))
comparator_miyahara.add(gdstk.Reference(m2_m1_cdns_677059503135, (-0.75,17.73)))
comparator_miyahara.add(gdstk.Reference(m2_m1_cdns_677059503135, (-2.35,17.73)))
comparator_miyahara.add(gdstk.Reference(m2_m1_cdns_677059503135, (-2.62,8.215)))
comparator_miyahara.add(gdstk.Reference(m3_m2_cdns_677059503136, (-1.81,12.575)))
comparator_miyahara.add(gdstk.Reference(m3_m2_cdns_677059503136, (-2.885,9.715)))
comparator_miyahara.add(gdstk.Reference(m3_m2_cdns_677059503130, (14.505,26)))
comparator_miyahara.add(gdstk.Reference(m3_m2_cdns_677059503136, (-1.81,7.505)))
comparator_miyahara.add(gdstk.Reference(m3_m2_cdns_677059503130, (12.505,24)))
comparator_miyahara.add(gdstk.Reference(m2_m1_cdns_677059503135, (7.6,7.715)))
comparator_miyahara.add(gdstk.Reference(m2_m1_cdns_677059503138, (0.505,18.395)))
comparator_miyahara.add(gdstk.Reference(m2_m1_cdns_677059503138, (-1.315,9.715)))
comparator_miyahara.add(gdstk.Reference(m2_m1_cdns_677059503138, (-2.95,16.36)))
comparator_miyahara.add(gdstk.Reference(m2_m1_cdns_677059503135, (9.2,7.715)))
comparator_miyahara.add(gdstk.Reference(m2_m1_cdns_677059503135, (10.8,7.715)))
comparator_miyahara.add(gdstk.Reference(m2_m1_cdns_6770595031313, (-1.02,7.505)))
comparator_miyahara.add(gdstk.Reference(m3_m2_cdns_6770595031314, (-1.81,20.645)))
comparator_miyahara.add(gdstk.Reference(m2_m1_cdns_6770595031315, (-1.675,20.645)))
comparator_miyahara.add(gdstk.Reference(m2_m1_cdns_6770595031319, (-2.7,10.735)))
comparator_miyahara.add(gdstk.Reference(m2_m1_cdns_6770595031319, (-1.1,10.835)))
comparator_miyahara.add(gdstk.Reference(m2_m1_cdns_6770595031320, (0.505,12.025)))
comparator_miyahara.add(gdstk.Reference(m2_m1_cdns_6770595031321, (-1.275,12.58)))
comparator_miyahara.add(gdstk.Reference(m2_m1_cdns_6770595031322, (-2.95,12.865)))
comparator_miyahara.add(gdstk.Reference(m2_m1_cdns_6770595031324, (4.455,19.65)))
comparator_miyahara.add(gdstk.Reference(m3_m2_cdns_677059503136, (-5.005,8.215)))
comparator_miyahara.add(gdstk.Reference(m3_m2_cdns_677059503130, (-20.555,24)))
comparator_miyahara.add(gdstk.Reference(m3_m2_cdns_677059503130, (-22.555,26)))
comparator_miyahara.add(gdstk.Reference(m2_m1_cdns_677059503135, (-5.575,19.65)))
comparator_miyahara.add(gdstk.Reference(m2_m1_cdns_677059503135, (-7.175,19.65)))
comparator_miyahara.add(gdstk.Reference(m2_m1_cdns_677059503138, (-10.175,14.655)))
comparator_miyahara.add(gdstk.Reference(m2_m1_cdns_677059503138, (-5.4,14.655)))
comparator_miyahara.add(gdstk.Reference(m2_m1_cdns_677059503138, (-9.495,12.58)))
comparator_miyahara.add(gdstk.Reference(m2_m1_cdns_677059503138, (-4.765,12.58)))
comparator_miyahara.add(gdstk.Reference(m2_m1_cdns_677059503138, (-5.57,9.715)))
comparator_miyahara.add(gdstk.Reference(m2_m1_cdns_677059503135, (-8.775,19.65)))
comparator_miyahara.add(gdstk.Reference(m2_m1_cdns_677059503138, (-9.495,16.36)))
comparator_miyahara.add(gdstk.Reference(m2_m1_cdns_677059503138, (-10.225,18.395)))
comparator_miyahara.add(gdstk.Reference(m2_m1_cdns_677059503135, (-10.375,19.65)))
comparator_miyahara.add(gdstk.Reference(m2_m1_cdns_677059503135, (-15.825,11.935)))
comparator_miyahara.add(gdstk.Reference(m2_m1_cdns_677059503135, (-17.425,11.935)))
comparator_miyahara.add(gdstk.Reference(m2_m1_cdns_6770595031313, (-5.82,7.505)))
comparator_miyahara.add(gdstk.Reference(m2_m1_cdns_677059503135, (-5.575,17.09)))
comparator_miyahara.add(gdstk.Reference(m2_m1_cdns_677059503135, (-7.175,17.09)))
comparator_miyahara.add(gdstk.Reference(m3_m2_cdns_6770595031314, (-5.005,20.645)))
comparator_miyahara.add(gdstk.Reference(m2_m1_cdns_677059503135, (-7.005,11.465)))
comparator_miyahara.add(gdstk.Reference(m2_m1_cdns_677059503135, (-8.605,11.465)))
comparator_miyahara.add(gdstk.Reference(m2_m1_cdns_677059503135, (-19.025,11.935)))
comparator_miyahara.add(gdstk.Reference(m2_m1_cdns_6770595031320, (-5.4,12.025)))
comparator_miyahara.add(gdstk.Reference(m2_m1_cdns_677059503135, (-4.22,8.215)))
comparator_miyahara.add(gdstk.Reference(m2_m1_cdns_677059503135, (-19.025,7.715)))
comparator_miyahara.add(gdstk.Reference(m2_m1_cdns_677059503135, (-17.425,7.715)))
comparator_miyahara.add(gdstk.Reference(m3_m2_cdns_6770595031323, (-4.765,12.81)))
comparator_miyahara.add(gdstk.Reference(m2_m1_cdns_677059503135, (-15.825,7.715)))
comparator_miyahara.add(gdstk.Reference(m2_m1_cdns_6770595031325, (-12.345,19.65)))
comparator_miyahara.add(gdstk.Reference(m2_m1_cdns_6770595031326, (-5.29,20.645)))
comparator_miyahara.add(gdstk.Reference(m2_m1_cdns_677059503138, (-5.57,-1.675)))
comparator_miyahara.add(gdstk.Reference(m3_m2_cdns_677059503136, (-5.005,6.3)))
comparator_miyahara.add(gdstk.Reference(m2_m1_cdns_677059503135, (-4.22,5.565)))
comparator_miyahara.add(gdstk.Reference(m2_m1_cdns_6770595031311, (-5.82,6.285)))
comparator_miyahara.add(gdstk.Reference(m2_m1_cdns_6770595031311, (-5.82,0.59)))
comparator_miyahara.add(gdstk.Reference(m2_m1_cdns_6770595031312, (-12,1.175)))
comparator_miyahara.add(gdstk.Reference(m3_m2_cdns_677059503136, (-5.005,1.81)))
comparator_miyahara.add(gdstk.Reference(m3_m2_cdns_677059503136, (-5.005,-0.13)))
comparator_miyahara.add(gdstk.Reference(m2_m1_cdns_6770595031313, (-5.82,1.81)))
comparator_miyahara.add(gdstk.Reference(m2_m1_cdns_677059503135, (-4.22,2.52)))
comparator_miyahara.add(gdstk.Reference(m3_m2_cdns_677059503136, (-4.915,-5.695)))
comparator_miyahara.add(gdstk.Reference(m2_m1_cdns_677059503135, (-4.22,-0.13)))
comparator_miyahara.add(gdstk.Reference(m2_m1_cdns_6770595031316, (-6.62,5.47)))
comparator_miyahara.add(gdstk.Reference(m2_m1_cdns_6770595031318, (-6.62,2.575)))
comparator_miyahara.add(gdstk.Reference(m2_m1_cdns_677059503135, (-5.575,-5.695)))
comparator_miyahara.add(gdstk.Reference(m2_m1_cdns_677059503135, (-7.175,-5.695)))
comparator_miyahara.add(gdstk.Reference(m2_m1_cdns_677059503135, (-8.775,-5.695)))
comparator_miyahara.add(gdstk.Reference(m2_m1_cdns_677059503135, (-10.375,-5.695)))
comparator_miyahara.add(gdstk.Reference(m2_m1_cdns_677059503133, (-20.555,4.58)))
comparator_miyahara.add(gdstk.Reference(m2_m1_cdns_677059503134, (-10.215,-6.695)))
comparator_miyahara.add(gdstk.Reference(m2_m1_cdns_677059503138, (-5.57,4.02)))
comparator_miyahara.add(gdstk.Reference(m3_m2_cdns_677059503130, (-20.555,-9.575)))
comparator_miyahara.add(gdstk.Reference(m3_m2_cdns_677059503130, (-22.555,-11.575)))
comparator_miyahara.add(gdstk.Reference(m3_m2_cdns_677059503132, (-20.555,4.58)))
comparator_miyahara.add(gdstk.Reference(m2_m1_cdns_677059503139, (-2.87,3.405)))
comparator_miyahara.add(gdstk.Reference(m3_m2_cdns_677059503132, (12.505,4.58)))
comparator_miyahara.add(gdstk.Reference(m2_m1_cdns_6770595031310, (-1.02,6.3)))
comparator_miyahara.add(gdstk.Reference(m2_m1_cdns_6770595031310, (-1.02,0.605)))
comparator_miyahara.add(gdstk.Reference(m2_m1_cdns_677059503135, (-2.62,5.565)))
comparator_miyahara.add(gdstk.Reference(m3_m2_cdns_677059503136, (-2.885,-1.675)))
comparator_miyahara.add(gdstk.Reference(m2_m1_cdns_6770595031312, (5.215,1.175)))
comparator_miyahara.add(gdstk.Reference(m3_m2_cdns_677059503136, (-1.69,-5.695)))
comparator_miyahara.add(gdstk.Reference(m2_m1_cdns_677059503135, (-2.62,2.52)))
comparator_miyahara.add(gdstk.Reference(m2_m1_cdns_677059503137, (2.385,-6.695)))
comparator_miyahara.add(gdstk.Reference(m2_m1_cdns_6770595031313, (-1.02,1.81)))
comparator_miyahara.add(gdstk.Reference(m3_m2_cdns_677059503130, (12.505,-9.575)))
comparator_miyahara.add(gdstk.Reference(m2_m1_cdns_677059503135, (-2.62,-0.13)))
comparator_miyahara.add(gdstk.Reference(m2_m1_cdns_677059503133, (12.505,4.58)))
comparator_miyahara.add(gdstk.Reference(m2_m1_cdns_677059503135, (2.45,-5.695)))
comparator_miyahara.add(gdstk.Reference(m2_m1_cdns_677059503135, (0.85,-5.695)))
comparator_miyahara.add(gdstk.Reference(m2_m1_cdns_6770595031317, (-0.22,5.515)))
comparator_miyahara.add(gdstk.Reference(m2_m1_cdns_677059503135, (-0.75,-5.695)))
comparator_miyahara.add(gdstk.Reference(m2_m1_cdns_6770595031318, (-0.22,2.575)))
comparator_miyahara.add(gdstk.Reference(m3_m2_cdns_677059503136, (-1.81,5.565)))
comparator_miyahara.add(gdstk.Reference(m2_m1_cdns_677059503138, (-1.315,4.02)))
comparator_miyahara.add(gdstk.Reference(m3_m2_cdns_677059503136, (-2.885,4.63)))
comparator_miyahara.add(gdstk.Reference(m2_m1_cdns_677059503135, (-2.35,-5.695)))
comparator_miyahara.add(gdstk.Reference(m3_m2_cdns_677059503136, (-2.885,3.405)))
comparator_miyahara.add(gdstk.Reference(m3_m2_cdns_677059503136, (-1.81,2.52)))
comparator_miyahara.add(gdstk.Reference(m3_m2_cdns_677059503130, (14.505,-11.575)))
comparator_miyahara.add(gdstk.Reference(m2_m1_cdns_677059503138, (-1.335,-1.675)))
comparator_miyahara.add(gdstk.Reference(m3_m2_cdns_677059503136, (-1.81,0.555)))
comparator_miyahara.add(gdstk.Reference(m2_m1_cdns_677059503139, (-2.87,4.66)))
comparator_miyahara.add(gdstk.Label('o_outn', (-23.595,9.505), layer=34, texttype=10))
comparator_miyahara.add(gdstk.Label('o_outp', (15.295,9.505), layer=34, texttype=10))
comparator_miyahara.add(gdstk.Label('o_outp', (15.295,9.505), layer=34, texttype=10))
comparator_miyahara.add(gdstk.Label('vdd', (-22.555,22.555), layer=42, texttype=10))
comparator_miyahara.add(gdstk.Label('I_INN', (-2.875,-12.695), layer=42, texttype=10))
comparator_miyahara.add(gdstk.Label('I_INP', (-3.955,-12.7), layer=42, texttype=10))
comparator_miyahara.add(gdstk.Label('gf180mcu_gnd', (-20.53,22.555), layer=42, texttype=10))
comparator_miyahara.add(gdstk.Label('I_P_AMPLIFY', (-23.28,-6.695), layer=36, texttype=10))

lib.write_gds('comparator_miyahara.gds')
